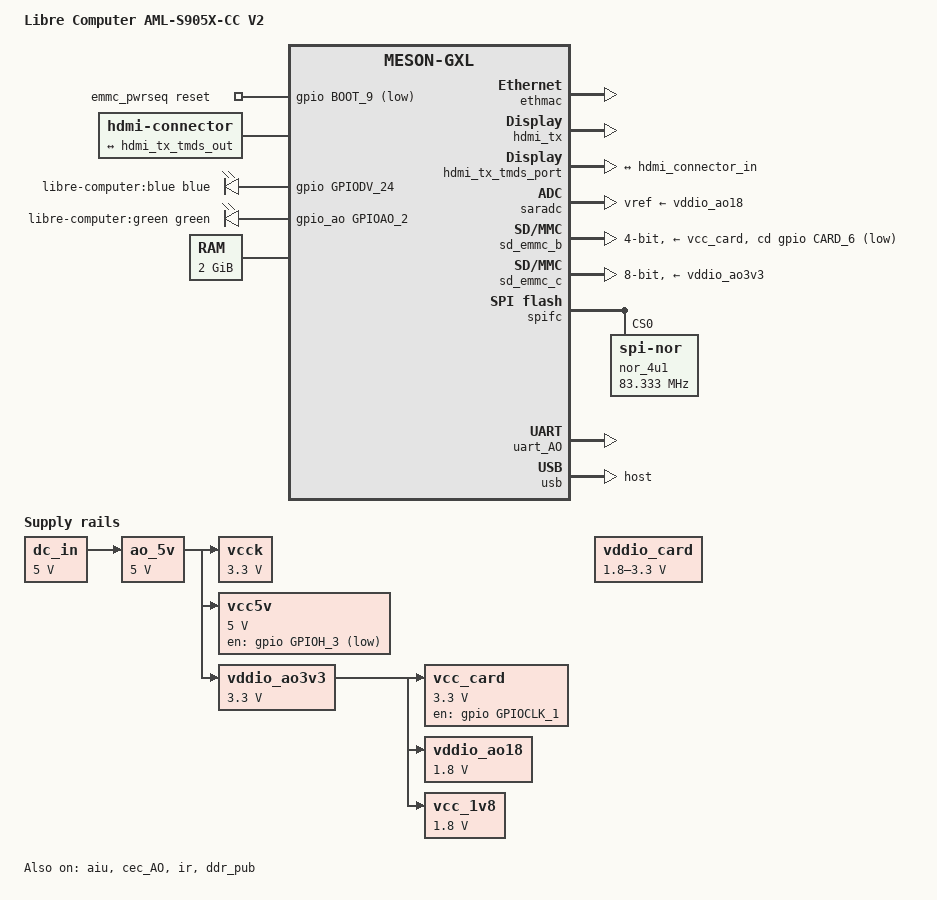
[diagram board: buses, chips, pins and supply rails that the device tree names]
// SPDX-License-Identifier: (GPL-2.0+ OR MIT)
/*
 * Copyright (c) 2020 BayLibre, SAS.
 * Author: Jerome Brunet <jbrunet@baylibre.com>
 */

/*
 * AML-S905X-CC-V2 board body, shared by the two firmware layouts this board
 * boots: meson-gxl-s905x-libretech-cc-v2.dts (vendor chain) and
 * meson-gxl-s905x-libretech-cc-v2-libre.dts (libre chain). The firmware
 * reservations are the leaf's, never this file's.
 */

#include <dt-bindings/input/input.h>
#include <dt-bindings/leds/common.h>
#include <dt-bindings/sound/meson-aiu.h>

#include "meson-gxl-s905x.dtsi"

/ {
	compatible = "libretech,aml-s905x-cc-v2", "amlogic,s905x",
		     "amlogic,meson-gxl";
	model = "Libre Computer AML-S905X-CC V2";

	aliases {
		serial0 = &uart_AO;
		ethernet0 = &ethmac;
		spi0 = &spifc;
	};

	chosen {
		stdout-path = "serial0:115200n8";
	};

	emmc_pwrseq: emmc-pwrseq {
		compatible = "mmc-pwrseq-emmc";
		reset-gpios = <&gpio BOOT_9 GPIO_ACTIVE_LOW>;
	};

	hdmi-connector {
		compatible = "hdmi-connector";
		type = "a";

		port {
			hdmi_connector_in: endpoint {
				remote-endpoint = <&hdmi_tx_tmds_out>;
			};
		};
	};

	leds {
		compatible = "gpio-leds";

		/* load: activity */
		led-blue {
			label = "libre-computer:blue";
			color = <LED_COLOR_ID_BLUE>;
			function = LED_FUNCTION_ACTIVITY;
			gpios = <&gpio GPIODV_24 GPIO_ACTIVE_HIGH>;
			linux,default-trigger = "activity";
		};

		/* ready: on once the bootloader has loaded; the OS heartbeat */
		led-green {
			label = "libre-computer:green";
			color = <LED_COLOR_ID_GREEN>;
			function = LED_FUNCTION_STATUS;
			gpios = <&gpio_ao GPIOAO_2 GPIO_ACTIVE_HIGH>;
			linux,default-trigger = "heartbeat";
			default-state = "on";
			panic-indicator;
		};
	};

	memory@0 {
		device_type = "memory";
		reg = <0x0 0x0 0x0 0x80000000>;
	};

	ao_5v: regulator-ao-5v {
		compatible = "regulator-fixed";
		regulator-name = "AO_5V";
		regulator-min-microvolt = <5000000>;
		regulator-max-microvolt = <5000000>;
		vin-supply = <&dc_in>;
		regulator-always-on;
	};

	dc_in: regulator-dc-in {
		compatible = "regulator-fixed";
		regulator-name = "DC_IN";
		regulator-min-microvolt = <5000000>;
		regulator-max-microvolt = <5000000>;
		regulator-always-on;
	};

	vcck: regulator-vcck {
		compatible = "regulator-fixed";
		regulator-name = "VCCK";
		regulator-min-microvolt = <3300000>;
		regulator-max-microvolt = <3300000>;
		vin-supply = <&ao_5v>;
		regulator-always-on;
	};

	vcc_card: regulator-vcc-card {
		compatible = "regulator-fixed";
		regulator-name = "VCC_CARD";
		regulator-min-microvolt = <3300000>;
		regulator-max-microvolt = <3300000>;
		vin-supply = <&vddio_ao3v3>;

		gpio = <&gpio GPIOCLK_1 GPIO_ACTIVE_HIGH>;
		enable-active-high;
	};

	vcc5v: regulator-vcc5v {
		compatible = "regulator-fixed";
		regulator-name = "VCC5V";
		regulator-min-microvolt = <5000000>;
		regulator-max-microvolt = <5000000>;
		vin-supply = <&ao_5v>;

		gpio = <&gpio GPIOH_3 GPIO_OPEN_DRAIN>;
	};

	vddio_ao3v3: regulator-vddio-ao3v3 {
		compatible = "regulator-fixed";
		regulator-name = "VDDIO_AO3V3";
		regulator-min-microvolt = <3300000>;
		regulator-max-microvolt = <3300000>;
		vin-supply = <&ao_5v>;
		regulator-always-on;
	};

	vddio_card: regulator-vddio-card {
		compatible = "regulator-gpio";
		regulator-name = "VDDIO_CARD";
		regulator-min-microvolt = <1800000>;
		regulator-max-microvolt = <3300000>;

		gpios = <&gpio_ao GPIOAO_3 GPIO_ACTIVE_HIGH>;
		gpios-states = <0>;

		states = <3300000 0>,
			 <1800000 1>;

		regulator-settling-time-up-us = <200>;
		regulator-settling-time-down-us = <50000>;
	};

	vddio_ao18: regulator-vddio-ao18 {
		compatible = "regulator-fixed";
		regulator-name = "VDDIO_AO18";
		regulator-min-microvolt = <1800000>;
		regulator-max-microvolt = <1800000>;
		vin-supply = <&vddio_ao3v3>;
		regulator-always-on;
	};

	vcc_1v8: regulator-vcc-1v8 {
		compatible = "regulator-fixed";
		regulator-name = "VCC 1V8";
		regulator-min-microvolt = <1800000>;
		regulator-max-microvolt = <1800000>;
		vin-supply = <&vddio_ao3v3>;
		regulator-always-on;
	};

	sound {
		compatible = "amlogic,gx-sound-card";
		model = "LIBRETECH-CC-V2";
		clocks = <&clkc CLKID_MPLL0>,
			 <&clkc CLKID_MPLL1>,
			 <&clkc CLKID_MPLL2>;

		assigned-clocks = <&clkc CLKID_MPLL0>,
				  <&clkc CLKID_MPLL1>,
				  <&clkc CLKID_MPLL2>;
		assigned-clock-parents = <0>, <0>, <0>;
		assigned-clock-rates = <294912000>,
				       <270950400>,
				       <393216000>;

		dai-link-0 {
			sound-dai = <&aiu AIU_CPU CPU_I2S_FIFO>;
		};

		dai-link-1 {
			sound-dai = <&aiu AIU_CPU CPU_I2S_ENCODER>;
			dai-format = "i2s";
			mclk-fs = <256>;

			codec-0 {
				sound-dai = <&aiu AIU_HDMI CTRL_I2S>;
			};
		};

		dai-link-2 {
			sound-dai = <&aiu AIU_HDMI CTRL_OUT>;

			codec-0 {
				sound-dai = <&hdmi_tx>;
			};
		};
	};
};

&aiu {
	status = "okay";
};

&cec_AO {
	status = "okay";
	pinctrl-0 = <&ao_cec_pins>;
	pinctrl-names = "default";
	hdmi-phandle = <&hdmi_tx>;
};

&ethmac {
	status = "okay";
};

&internal_phy {
	pinctrl-0 = <&eth_link_led_pins>, <&eth_act_led_pins>;
	pinctrl-names = "default";
};

&ir {
	status = "okay";
	pinctrl-0 = <&remote_input_ao_pins>;
	pinctrl-names = "default";
};

&hdmi_tx {
	status = "okay";
	pinctrl-0 = <&hdmi_hpd_pins>, <&hdmi_i2c_pins>;
	hdmi-supply = <&vcc5v>;
	pinctrl-names = "default";
};

&hdmi_tx_tmds_port {
	hdmi_tx_tmds_out: endpoint {
		remote-endpoint = <&hdmi_connector_in>;
	};
};

&saradc {
	status = "okay";
	vref-supply = <&vddio_ao18>;
};

/* SD card */
&sd_emmc_b {
	pinctrl-0 = <&sdcard_pins>;
	pinctrl-1 = <&sdcard_clk_gate_pins>;
	pinctrl-names = "default", "clk-gate";

	bus-width = <4>;
	cap-sd-highspeed;
	sd-uhs-sdr50;
	sd-uhs-ddr50;
	sd-uhs-sdr104;
	max-frequency = <166666667>;
	/*
	 * Upstream-safe ceiling is SDR104 @ 166 MHz above; our kernel's CRC
	 * clock-ladder (reduced-clock tuning retry + SDR104 clock-step) lets it
	 * attempt 200 MHz and step a marginal card back down within SDR104.
	 * Downstream-only property -- upstream ignores it and keeps 166.
	 */
	max-frequency-tuned = <200000000>;
	disable-wp;

	cd-gpios = <&gpio CARD_6 GPIO_ACTIVE_LOW>;

	vmmc-supply = <&vcc_card>;
	vqmmc-supply = <&vddio_card>;

	status = "okay";
};

/* eMMC */
&sd_emmc_c {
	pinctrl-0 = <&emmc_pins>;
	pinctrl-1 = <&emmc_clk_gate_pins>;
	pinctrl-names = "default", "clk-gate";

	bus-width = <8>;
	cap-mmc-highspeed;
	mmc-hs200-1_8v;
	max-frequency = <200000000>;
	disable-wp;

	mmc-pwrseq = <&emmc_pwrseq>;
	vmmc-supply = <&vddio_ao3v3>;
	vqmmc-supply = <&vcc_1v8>;

	status = "okay";
};

&spifc {
	status = "okay";
	pinctrl-0 = <&nor_pins>;
	pinctrl-names = "default";

	nor_4u1: flash@0 {
		#address-cells = <1>;
		#size-cells = <1>;
		compatible = "jedec,spi-nor";
		reg = <0>;
		spi-max-frequency = <83333333>;
	};
};

&uart_AO {
	status = "okay";
	pinctrl-0 = <&uart_ao_a_pins>;
	pinctrl-names = "default";
};

&usb {
	status = "okay";
	dr_mode = "host";
};

&usb2_phy0 {
	phy-supply = <&vcc5v>;
};

&usb2_phy1 {
	phy-supply = <&vcc5v>;
};

/ {
	reserved-memory {
		linux,cma {
			/*
			 * 384 MiB. NOT 7/32 of RAM (448 MiB at 2 GiB): the
			 * binding constraint is not how much RAM exists but
			 * what fits CONTIGUOUSLY under the 1 GiB alloc-ranges
			 * ceiling u-boot's meson_fixup_cma_size() writes on
			 * every boot -- and the kernel image lands inside that
			 * window at a KASLR-random address, so the largest
			 * satisfiable run is a per-boot variable.
			 *
			 * Below 1 GiB this board reserves hwrom@0 (1 MiB),
			 * secmon@5000000 (3 MiB) and ramoops@7400000 (1 MiB),
			 * leaving a 904 MiB run at 4 MiB alignment. A ~72 MiB
			 * image placed at the WORST point in that run splits it
			 * into two halves of (904 - 72) / 2 = 416 MiB, so 416
			 * is the largest request satisfiable on EVERY boot.
			 * 448 exceeds it and fails on a minority of boots --
			 * silently, to the 128 MiB CONFIG_CMA_SIZE_MBYTES
			 * fallback. 384 leaves room for the image to grow to
			 * 136 MiB before the guarantee is lost.
			 */
			size = <0x0 0x18000000>;
		};
	};
};

/*
 * Open-SC SCMI package -- carried DISABLED.
 *
 * This board ships two firmware builds that boot this one DTB: the vendor
 * chain, whose BL30 speaks SCPI on MHU channel 2 / cpu_scp_hpri, and the
 * open chain (u-boot libretech-cc_v2_libre_defconfig), whose SC answers
 * SCMI on the same mailbox and the same shared memory. The DTB cannot know
 * which is flashed, so the open-chain U-Boot says so at boot: its
 * ft_board_setup() (CONFIG_MESON_GX_LIBRE_SCMI_FIXUP) flips the nodes
 * below to "okay", flips /scpi to "disabled", and points each CPU's
 * `clocks` at protocol@14 and `power-domains` at protocol@13 -- on
 * whatever blob it hands Linux, PXE-supplied or built-in. The vendor chain
 * never touches them, so on a vendor boot this whole block is inert and
 * /scpi stays the CPU clock provider exactly as before.
 *
 * Same pattern as the SM1 board's meson-sm1-scmi.dtsi: describe the open
 * SC in the shipping DTS, disabled, so that enabling it is a status flip
 * and not a second device tree.
 *
 * Every node the fixup must find carries a label: the kernel's dtc emits a
 * phandle for a labelled node (-@, CONFIG_OF_OVERLAY), and the fixup
 * refuses -- and says so -- rather than mint one.
 *
 * Address map, measured on this board and vendor-cited where named:
 *   MHU doorbell   mailbox@404 -> 0xC883C404 (amlogic,meson-gxbb-mhu);
 *                  channel 2 = HP = the OSPM channel, AP RX 0xC883C41C
 *                  (GIC SPI 210), AP TX 0xC883C440 (HIU_MAILBOX_SET_5).
 *   NS shmem       cpu_scp_hpri = sram@c8000000 + 0x13400, 0x400. Only KiB
 *                  76 and 77 of that SRAM are non-secure permitted (the SC
 *                  opens exactly those two); do not aim any node elsewhere.
 */
&cpu_scp_hpri {
	compatible = "arm,scmi-shmem", "amlogic,meson-gxbb-scp-shmem";
};

/*
 * cpu_scp_lpri is the SCMI notification / RX shmem. Its binding must also
 * name "arm,scmi-shmem": drivers/firmware/arm_scmi/shmem.c reads shmem index
 * 1 as the RX channel and rejects any phandle that lacks that compatible
 * (-ENXIO), so without this line the RX channel dies quietly inside
 * chan_setup while TX still works. Mirrors the &cpu_scp_hpri override above
 * and the merged U-Boot blob (v2026.07/lc-master
 * arch/arm/dts/meson-gxl-scmi-u-boot.dtsi). Kept in the board DTS, not
 * meson-gx.dtsi, so only cc-v2 changes and the vendor /scpi path that also
 * references this node is untouched -- arm_scpi still classifies it via the
 * retained "amlogic,meson-gxbb-scp-shmem" fallback string.
 */
&cpu_scp_lpri {
	compatible = "arm,scmi-shmem", "amlogic,meson-gxbb-scp-shmem";
};

/ {
	firmware {
		scmi: scmi {
			compatible = "arm,scmi";
			status = "disabled";

			/*
			 * tx = MHU ch2 (HP / OSPM request channel), rx = MHU ch1
			 * (LP). The arm_scmi mailbox transport binds TX on
			 * mboxes[0] and the notification/RX on mboxes[1]
			 * (transports/mailbox.c mailbox_chan_validate, case 2
			 * with num_sh == 2), reading shmem[0]=hpri for tx and
			 * shmem[1]=lpri for rx. Same shape as the merged U-Boot
			 * blob that closed the 2026-08-26 cc-v2 SCMI round trip.
			 * The request path stays ch2/hpri, so a board whose SC
			 * has no SCP_GXL_LP_TRANSPORT only loses async
			 * notifications on ch1, never a synchronous request.
			 */
			mboxes = <&mailbox 2>, <&mailbox 1>;
			mbox-names = "tx", "rx";
			shmem = <&cpu_scp_hpri>, <&cpu_scp_lpri>;

			#address-cells = <1>;
			#size-cells = <0>;

			/*
			 * NODE ORDER IS LOAD-BEARING -- protocol@14 MUST come
			 * before protocol@13, and the list is deliberately not
			 * numeric. arm_scmi creates one device per child in DT
			 * order, so this is the order the protocol drivers
			 * probe in. scmi-cpufreq's OPP setup resolves the CPUs'
			 * `clocks` phandle into this clock provider; with perf
			 * ahead of clock it runs before the provider exists and
			 * every OPP add fails with -19 (ENODEV) instead of
			 * deferring: no cpufreq policy at all. Measured both
			 * ways on hardware. Do not tidy this list.
			 *
			 * SENSOR (0x15): the open SC serves the die temperature
			 * as sensor 2, "soc-temp", in millidegrees from the die's
			 * eFuse thermal trim, sampling SAR ADC ch6 inside its own
			 * BL30_BUSY window beside meson_saradc. Each read is also
			 * a sample for the SC's adaptive DDR4 refresh governor,
			 * which the soc-thermal zone below polls once a second. An
			 * SC built without the sensor never advertises 0x15, and
			 * the zone then never registers.
			 */
			scmi_power: protocol@11 {
				reg = <0x11>;
				#power-domain-cells = <1>;
			};

			scmi_clk: protocol@14 {
				reg = <0x14>;
				#clock-cells = <1>;
			};

			scmi_syspower: protocol@12 {
				reg = <0x12>;
			};

			scmi_perf: protocol@13 {
				reg = <0x13>;
				#power-domain-cells = <1>;
			};

			scmi_sensor: protocol@15 {
				reg = <0x15>;
				#thermal-sensor-cells = <1>;
			};
		};
	};

	/*
	 * The open chain's die-temperature zone.  U-Boot's SCMI fixup disables
	 * /scpi there, so meson-gx.dtsi's cpu-thermal (on &scpi_sensors) never
	 * registers; this zone carries the same throttling it would have --
	 * passive 80 C and hot 90 C on the CPUs, hot on vdec and ge2d -- so the
	 * open chain is not left with a shutdown as its only thermal action.  On
	 * the vendor chain /firmware/scmi stays disabled, this zone never
	 * registers, and cpu-thermal does the same job.
	 */
	thermal-zones {
		soc-thermal {
			polling-delay = <1000>;
			polling-delay-passive = <250>;
			thermal-sensors = <&scmi_sensor 2>;

			trips {
				soc_passive: soc-passive {
					temperature = <80000>;
					hysteresis = <2000>;
					type = "passive";
				};

				soc_hot: soc-hot {
					temperature = <90000>;
					hysteresis = <2000>;
					type = "hot";
				};

				soc_crit: soc-crit {
					temperature = <105000>;
					hysteresis = <2000>;
					type = "critical";
				};
			};

			cooling-maps {
				map0 {
					trip = <&soc_passive>;
					cooling-device = <&cpu0 THERMAL_NO_LIMIT THERMAL_NO_LIMIT>,
							 <&cpu1 THERMAL_NO_LIMIT THERMAL_NO_LIMIT>,
							 <&cpu2 THERMAL_NO_LIMIT THERMAL_NO_LIMIT>,
							 <&cpu3 THERMAL_NO_LIMIT THERMAL_NO_LIMIT>;
				};

				map1 {
					trip = <&soc_hot>;
					cooling-device = <&cpu0 THERMAL_NO_LIMIT THERMAL_NO_LIMIT>,
							 <&cpu1 THERMAL_NO_LIMIT THERMAL_NO_LIMIT>,
							 <&cpu2 THERMAL_NO_LIMIT THERMAL_NO_LIMIT>,
							 <&cpu3 THERMAL_NO_LIMIT THERMAL_NO_LIMIT>;
				};

				map_vdec {
					trip = <&soc_hot>;
					cooling-device = <&vdec THERMAL_NO_LIMIT THERMAL_NO_LIMIT>;
				};

				map_ge2d {
					trip = <&soc_hot>;
					cooling-device = <&ge2d THERMAL_NO_LIMIT THERMAL_NO_LIMIT>;
				};
			};
		};
	};
};

/* PUB VT reads verified on Linux, open chain: enable the monitor. */
&ddr_pub {
	status = "okay";
};
